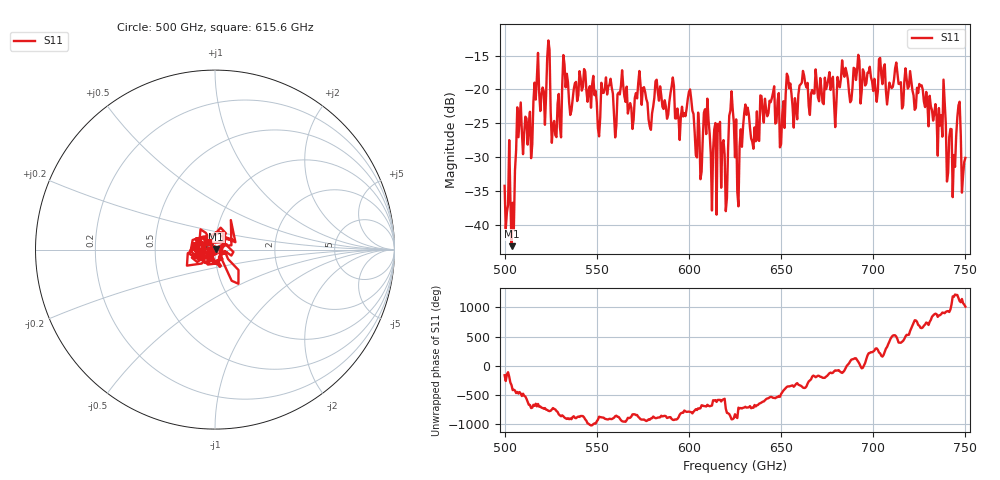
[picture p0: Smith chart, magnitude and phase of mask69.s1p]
!Created with skrf (http://scikit-rf.org).
# GHz S MA R 50.0
!freq magS11 angS11
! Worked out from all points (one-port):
!   401 points, 500 GHz to 750 GHz, reference 50 ohm
!   lowest |S11| = -43.2 dB at 503.8 GHz (marker M1), VSWR 1.01, Z = 50.6 + j0.303 ohm
!   |S11| at or under -10 dB: start of sweep to end of sweep
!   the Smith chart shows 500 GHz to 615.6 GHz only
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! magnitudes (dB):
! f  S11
! 500 GHz  -34.3
! 503.8 GHz  -43.2
! 507.5 GHz  -27.1
! 513.8 GHz  -23.3
! 516.9 GHz  -21.5
! 523.8 GHz  -12.7
! 526.9 GHz  -24.7
! 531.2 GHz  -19.4
! 562.5 GHz  -20.7
! 579.4 GHz  -26.0
! 590.6 GHz  -19.5
! 593.8 GHz  -22.8
! 600.6 GHz  -20.0
! 605.6 GHz  -25.8
! 609.4 GHz  -26.6
! 613.8 GHz  -25.9
! 620 GHz  -38.0
! 623.1 GHz  -20.3
! 625 GHz  -30.0
! 627.5 GHz  -28.4
! 631.2 GHz  -23.7
! 656.2 GHz  -22.6
! 687.5 GHz  -21.9
! 718.8 GHz  -19.9
! 738.1 GHz  -18.5
! 743.8 GHz  -29.7
! 746.2 GHz  -22.3
! 750 GHz  -30.1
